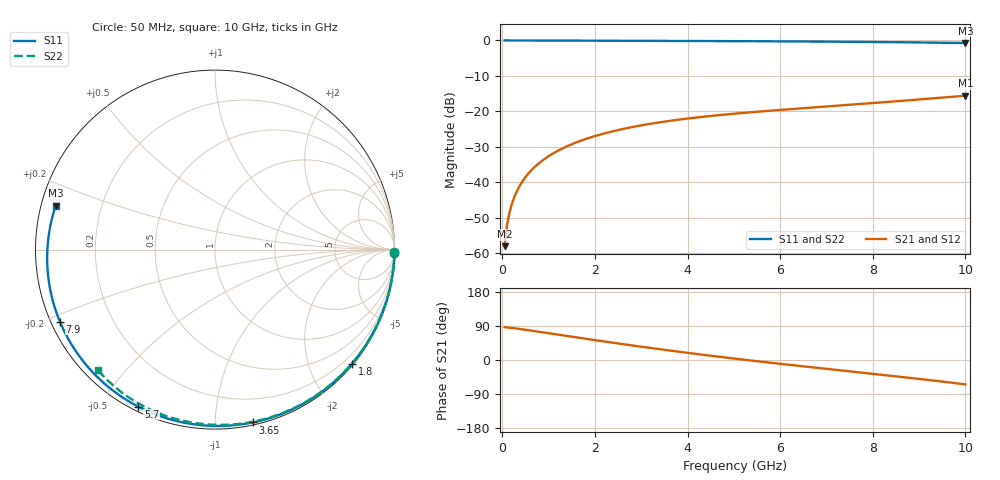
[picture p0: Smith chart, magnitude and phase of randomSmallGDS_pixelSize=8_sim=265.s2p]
! freq	dB(S11)	phase(S11)	dB(S12)	phase(S12)
!  dB(S21)	phase(S21)	dB(S22)	phase(S22)
!S-par simulation data
#  GHz  S  DB  R 50
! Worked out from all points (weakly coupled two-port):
!   200 points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, 50 MHz to 10 GHz, reference 50 ohm
!   highest |S21| = -15.59 dB at 10 GHz (marker M1); lowest = -58.1 dB at 50 MHz (marker M2)
!   lowest |S11| = -0.7 dB at 10 GHz (marker M3), VSWR 24.18, Z = 2.11 + j6.75 ohm
!   |S11| at or under -10 dB: nowhere
!   |S22| runs from -0.6 to 0.0 dB; largest |S21 - S12| = 0
!   S11 on the Smith chart (normalised r, x): 50 MHz: open; 1.8 GHz: 0.03, -2.76; 3.65 GHz: 0.02, -1.24; 5.7 GHz: 0.02, -0.62; 7.9 GHz: 0.03, -0.22; 10 GHz: 0.04, +0.14
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0.05  -0.00 -1.1  -58.08 86.8  -58.08 86.8  -0.00 -0.8
0.1  -0.00 -2.3  -52.30 85.8  -52.30 85.8  -0.00 -1.6
0.15  -0.00 -3.4  -48.90 85.2  -48.90 85.2  -0.00 -2.4
0.2  -0.00 -4.5  -46.45 84.6  -46.45 84.6  -0.00 -3.2
0.35  -0.01 -7.9  -41.66 82.3  -41.66 82.3  -0.00 -5.5
0.5  -0.01 -11.3  -38.59 79.8  -38.59 79.8  -0.01 -7.9
0.7  -0.02 -15.7  -35.71 76.2  -35.71 76.2  -0.01 -11.0
1  -0.03 -22.4  -32.68 70.7  -32.68 70.7  -0.02 -15.6
1.35  -0.04 -30.0  -30.17 64.2  -30.17 64.2  -0.03 -21.0
1.75  -0.06 -38.7  -28.05 56.9  -28.05 56.9  -0.04 -27.1
1.8  -0.06 -39.8  -27.83 56.0  -27.83 56.0  -0.04 -27.9
2.6  -0.09 -56.6  -25.00 41.9  -25.00 41.9  -0.06 -39.9
3.4  -0.12 -72.8  -23.11 28.5  -23.11 28.5  -0.09 -51.5
3.65  -0.13 -77.8  -22.63 24.4  -22.63 24.4  -0.10 -55.1
4.35  -0.16 -91.2  -21.52 13.5  -21.52 13.5  -0.12 -64.9
5.05  -0.19 -104.2  -20.63 3.2  -20.63 3.2  -0.15 -74.3
5.7  -0.23 -116.0  -19.92 -6.0  -19.92 -6.0  -0.18 -82.8
6.7  -0.30 -133.8  -18.94 -19.4  -18.94 -19.4  -0.23 -95.5
7.9  -0.42 -155.1  -17.78 -35.0  -17.78 -35.0  -0.33 -110.0
8.35  -0.47 -163.3  -17.33 -41.0  -17.33 -41.0  -0.37 -115.3
9.2  -0.59 -179.3  -16.45 -52.7  -16.45 -52.7  -0.47 -125.2
10  -0.72 164.6  -15.59 -64.4  -15.59 -64.4  -0.58 -134.3
